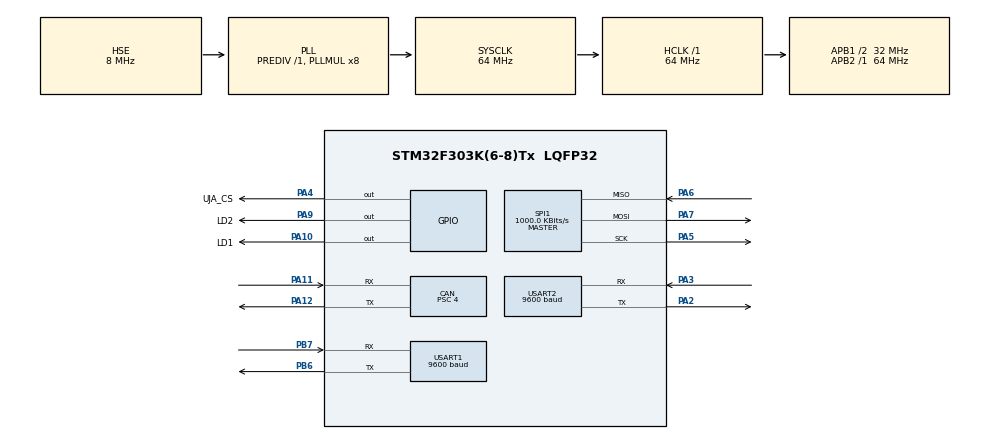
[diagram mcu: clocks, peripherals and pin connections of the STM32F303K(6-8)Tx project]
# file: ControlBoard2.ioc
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CAN.ABOM=ENABLE
CAN.AWUM=DISABLE
CAN.BS1=CAN_BS1_5TQ
CAN.BS2=CAN_BS2_2TQ
CAN.CalculateBaudRate=1000000
CAN.CalculateTimeBit=1000.00
CAN.CalculateTimeQuantum=125.0
CAN.Mode=CAN_MODE_NORMAL
CAN.NART=DISABLE
CAN.Prescaler=4
CAN.RFLM=DISABLE
CAN.SJW=CAN_SJW_2TQ
CAN.TTCM=DISABLE
CAN.TXFP=DISABLE
FREERTOS.BinarySemaphores01=ProcessCommandSem,Dynamic,NULL
FREERTOS.Tasks01=SendCANFrame,24,128,StartSendCANFrame,Default,NULL,Dynamic,NULL,NULL;ProcessCommand,24,128,StartProcessCommand,Default,NULL,Dynamic,NULL,NULL;SendTelemetry,24,128,StartSendTelemetry,Default,NULL,Dynamic,NULL,NULL;FeedWDG,40,128,StartFeedWDG,Default,NULL,Static,FeedWDGBuffer,FeedWDGControlBlock
FREERTOS.configUSE_IDLE_HOOK=1
FREERTOS.configUSE_PREEMPTION=1
Mcu.Family=STM32F3
Mcu.Name=STM32F303K(6-8)Tx
Mcu.Package=LQFP32
NVIC.CAN_RX0_IRQn=true\:5\:0\:false\:true\:true\:1\:true\:true\:true
NVIC.CAN_RX1_IRQn=true\:5\:0\:false\:true\:true\:2\:true\:true\:true
NVIC.PriorityGroup=NVIC_PRIORITYGROUP_4
NVIC.SPI1_IRQn=true\:5\:0\:false\:false\:true\:true\:true\:true
NVIC.TIM1_UP_TIM16_IRQn=true\:0\:0\:false\:false\:true\:false\:false\:true
NVIC.TimeBase=TIM1_UP_TIM16_IRQn
NVIC.TimeBaseIP=TIM1
NVIC.USART2_IRQn=true\:5\:0\:false\:true\:true\:3\:true\:true\:true
PA10.GPIO_Label=LD1
PA10.Signal=GPIO_Output
PA11.Mode=CAN_Activate
PA11.Signal=CAN_RX
PA12.Mode=CAN_Activate
PA12.Signal=CAN_TX
PA13.Mode=JTAG_4_pins
PA13.Signal=SYS_JTMS-SWDIO
PA14.Mode=JTAG_4_pins
PA14.Signal=SYS_JTCK-SWCLK
PA15.Mode=JTAG_4_pins
PA15.Signal=SYS_JTDI
PA2.Mode=Asynchronous
PA2.Signal=USART2_TX
PA3.Mode=Asynchronous
PA3.Signal=USART2_RX
PA4.GPIO_Label=UJA_CS
PA4.Signal=GPIO_Output
PA5.Mode=Full_Duplex_Master
PA5.Signal=SPI1_SCK
PA6.Mode=Full_Duplex_Master
PA6.Signal=SPI1_MISO
PA7.Mode=Full_Duplex_Master
PA7.Signal=SPI1_MOSI
PA9.GPIO_Label=LD2
PA9.Signal=GPIO_Output
PB3.Mode=JTAG_4_pins
PB3.Signal=SYS_JTDO-TRACESWO
PB6.Mode=Asynchronous
PB6.Signal=USART1_TX
PB7.Mode=Asynchronous
PB7.Signal=USART1_RX
PF0\ /\ OSC_IN.Mode=HSE-External-Oscillator
PF0\ /\ OSC_IN.Signal=RCC_OSC_IN
PF1\ /\ OSC_OUT.Mode=HSE-External-Oscillator
PF1\ /\ OSC_OUT.Signal=RCC_OSC_OUT
ProjectManager.HeapSize=0x200
ProjectManager.StackSize=0x400
ProjectManager.TargetToolchain=STM32CubeIDE
RCC.AHBFreq_Value=64000000
RCC.APB1CLKDivider=RCC_HCLK_DIV2
RCC.APB1Freq_Value=32000000
RCC.APB1TimFreq_Value=64000000
RCC.APB2Freq_Value=64000000
RCC.APB2TimFreq_Value=64000000
RCC.CortexFreq_Value=64000000
RCC.HCLKFreq_Value=64000000
RCC.HSE_VALUE=8000000
RCC.HSI_VALUE=8000000
RCC.PLLMUL=RCC_PLL_MUL8
RCC.PLLSourceVirtual=RCC_PLLSOURCE_HSE
RCC.SYSCLKFreq_VALUE=64000000
RCC.SYSCLKSourceVirtual=RCC_SYSCLKSOURCE_PLLCLK
SPI1.BaudRatePrescaler=SPI_BAUDRATEPRESCALER_64
SPI1.CLKPhase=SPI_PHASE_2EDGE
SPI1.CalculateBaudRate=1000.0 KBits/s
SPI1.DataSize=SPI_DATASIZE_8BIT
SPI1.Direction=SPI_DIRECTION_2LINES
SPI1.Mode=SPI_MODE_MASTER
SPI1.TIMode=SPI_TIMODE_DISABLE
SPI1.VirtualType=VM_MASTER
USART1.BaudRate=9600
USART1.VirtualMode-Asynchronous=VM_ASYNC
USART2.BaudRate=9600
USART2.VirtualMode-Asynchronous=VM_ASYNC
VP_FREERTOS_VS_CMSIS_V2.Mode=CMSIS_V2
VP_SYS_VS_tim1.Mode=TIM1
board=custom

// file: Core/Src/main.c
/* USER CODE BEGIN Header */
/**
  ******************************************************************************
  * @file           : main.c
  * @brief          : Main program body
  ******************************************************************************
  * @attention
  *
  * <h2><center>&copy; Copyright (c) 2020 STMicroelectronics.
  * All rights reserved.</center></h2>
  *
  * This software component is licensed by ST under BSD 3-Clause license,
  * the "License"; You may not use this file except in compliance with the
  * License. You may obtain a copy of the License at:
  *                        opensource.org/licenses/BSD-3-Clause
  *
  ******************************************************************************
  */
/* USER CODE END Header */
#include "main.h"
#include "cmsis_os.h"
/* USER CODE BEGIN Includes */

#include <ControlBoard.h>

/* USER CODE END Includes */

typedef StaticTask_t osStaticThreadDef_t;

CAN_HandleTypeDef hcan;

SPI_HandleTypeDef hspi1;

UART_HandleTypeDef huart1;
UART_HandleTypeDef huart2;

/* Definitions for SendCANFrame */
osThreadId_t SendCANFrameHandle;
const osThreadAttr_t SendCANFrame_attributes = {
  .name = "SendCANFrame",
  .priority = (osPriority_t) osPriorityNormal,
  .stack_size = 128 * 4
};
/* Definitions for ProcessCommand */
osThreadId_t ProcessCommandHandle;
const osThreadAttr_t ProcessCommand_attributes = {
  .name = "ProcessCommand",
  .priority = (osPriority_t) osPriorityNormal,
  .stack_size = 128 * 4
};
/* Definitions for SendTelemetry */
osThreadId_t SendTelemetryHandle;
const osThreadAttr_t SendTelemetry_attributes = {
  .name = "SendTelemetry",
  .priority = (osPriority_t) osPriorityNormal,
  .stack_size = 128 * 4
};
/* Definitions for FeedWDG */
osThreadId_t FeedWDGHandle;
uint32_t FeedWDGBuffer[ 128 ];
osStaticThreadDef_t FeedWDGControlBlock;
const osThreadAttr_t FeedWDG_attributes = {
  .name = "FeedWDG",
  .stack_mem = &FeedWDGBuffer[0],
  .stack_size = sizeof(FeedWDGBuffer),
  .cb_mem = &FeedWDGControlBlock,
  .cb_size = sizeof(FeedWDGControlBlock),
  .priority = (osPriority_t) osPriorityHigh,
};
/* Definitions for ProcessCommandSem */
osSemaphoreId_t ProcessCommandSemHandle;
const osSemaphoreAttr_t ProcessCommandSem_attributes = {
  .name = "ProcessCommandSem"
};
/* USER CODE BEGIN PV */

ControlBoardHardware controlboardHandle;

/* USER CODE END PV */

void SystemClock_Config(void);
static void MX_GPIO_Init(void);
static void MX_CAN_Init(void);
static void MX_SPI1_Init(void);
static void MX_USART2_UART_Init(void);
static void MX_USART1_UART_Init(void);
void StartSendCANFrame(void *argument);
void StartProcessCommand(void *argument);
void StartSendTelemetry(void *argument);
void StartFeedWDG(void *argument);

static void MX_NVIC_Init(void);

int main(void)
{

  /* MCU Configuration--------------------------------------------------------*/

  /* Reset of all peripherals, Initializes the Flash interface and the Systick. */
  HAL_Init();

  /* Configure the system clock */
  SystemClock_Config();

  /* Initialize all configured peripherals */
  MX_GPIO_Init();
  MX_CAN_Init();
  MX_SPI1_Init();
  MX_USART2_UART_Init();
  MX_USART1_UART_Init();

  /* Initialize interrupts */
  MX_NVIC_Init();

  /* Init scheduler */
  osKernelInitialize();

  /* Create the semaphores(s) */
  /* creation of ProcessCommandSem */
  ProcessCommandSemHandle = osSemaphoreNew(1, 1, &ProcessCommandSem_attributes);

  /* Create the thread(s) */
  /* creation of SendCANFrame */
  SendCANFrameHandle = osThreadNew(StartSendCANFrame, NULL, &SendCANFrame_attributes);

  /* creation of ProcessCommand */
  ProcessCommandHandle = osThreadNew(StartProcessCommand, NULL, &ProcessCommand_attributes);

  /* creation of SendTelemetry */
  SendTelemetryHandle = osThreadNew(StartSendTelemetry, NULL, &SendTelemetry_attributes);

  /* creation of FeedWDG */
  FeedWDGHandle = osThreadNew(StartFeedWDG, NULL, &FeedWDG_attributes);

  /* USER CODE BEGIN RTOS_EVENTS */

  //Setup ControlBoard hardware references
  controlboardHandle.CAN_Handle = &hcan;
  controlboardHandle.UART_Handle = &huart2;
  controlboardHandle.LED1_GPIO_Port = LD1_GPIO_Port;
  controlboardHandle.LED1_GPIO_Pin = LD1_Pin;
  controlboardHandle.LED2_GPIO_Port = LD2_GPIO_Port;
  controlboardHandle.LED2_GPIO_Pin = LD2_Pin;
  controlboardHandle.ProcessCommandSemaphore_Handle = ProcessCommandSemHandle;

  controlboardHandle.SBC_Handle.SPI_Handle = &hspi1;
  controlboardHandle.SBC_Handle.ChipSelect_GPIO_Port = UJA_CS_GPIO_Port;
  controlboardHandle.SBC_Handle.ChipSelect_GPIO_Pin = UJA_CS_Pin;

  //Init control board
  InitControlboard(&controlboardHandle);

  /* USER CODE END RTOS_EVENTS */

  /* Start scheduler */
  osKernelStart();

  /* We should never get here as control is now taken by the scheduler */
  /* Infinite loop */
  while (1)
  {

  }
}

void SystemClock_Config(void)
{
  RCC_OscInitTypeDef RCC_OscInitStruct = {0};
  RCC_ClkInitTypeDef RCC_ClkInitStruct = {0};
  RCC_PeriphCLKInitTypeDef PeriphClkInit = {0};

  /** Initializes the RCC Oscillators according to the specified parameters
  * in the RCC_OscInitTypeDef structure.
  */
  RCC_OscInitStruct.OscillatorType = RCC_OSCILLATORTYPE_HSE;
  RCC_OscInitStruct.HSEState = RCC_HSE_ON;
  RCC_OscInitStruct.HSEPredivValue = RCC_HSE_PREDIV_DIV1;
  RCC_OscInitStruct.HSIState = RCC_HSI_ON;
  RCC_OscInitStruct.PLL.PLLState = RCC_PLL_ON;
  RCC_OscInitStruct.PLL.PLLSource = RCC_PLLSOURCE_HSE;
  RCC_OscInitStruct.PLL.PLLMUL = RCC_PLL_MUL8;
  if (HAL_RCC_OscConfig(&RCC_OscInitStruct) != HAL_OK)
  {
    Error_Handler();
  }
  /** Initializes the CPU, AHB and APB buses clocks
  */
  RCC_ClkInitStruct.ClockType = RCC_CLOCKTYPE_HCLK|RCC_CLOCKTYPE_SYSCLK
                              |RCC_CLOCKTYPE_PCLK1|RCC_CLOCKTYPE_PCLK2;
  RCC_ClkInitStruct.SYSCLKSource = RCC_SYSCLKSOURCE_PLLCLK;
  RCC_ClkInitStruct.AHBCLKDivider = RCC_SYSCLK_DIV1;
  RCC_ClkInitStruct.APB1CLKDivider = RCC_HCLK_DIV2;
  RCC_ClkInitStruct.APB2CLKDivider = RCC_HCLK_DIV1;

  if (HAL_RCC_ClockConfig(&RCC_ClkInitStruct, FLASH_LATENCY_2) != HAL_OK)
  {
    Error_Handler();
  }
  PeriphClkInit.PeriphClockSelection = RCC_PERIPHCLK_USART1;
  PeriphClkInit.Usart1ClockSelection = RCC_USART1CLKSOURCE_PCLK1;
  if (HAL_RCCEx_PeriphCLKConfig(&PeriphClkInit) != HAL_OK)
  {
    Error_Handler();
  }
}

/**
  * @brief NVIC Configuration.
  * @retval None
  */
static void MX_NVIC_Init(void)
{
  /* CAN_RX0_IRQn interrupt configuration */
  HAL_NVIC_SetPriority(CAN_RX0_IRQn, 5, 0);
  HAL_NVIC_EnableIRQ(CAN_RX0_IRQn);
  /* CAN_RX1_IRQn interrupt configuration */
  HAL_NVIC_SetPriority(CAN_RX1_IRQn, 5, 0);
  HAL_NVIC_EnableIRQ(CAN_RX1_IRQn);
  /* USART2_IRQn interrupt configuration */
  HAL_NVIC_SetPriority(USART2_IRQn, 5, 0);
  HAL_NVIC_EnableIRQ(USART2_IRQn);
}

static void MX_CAN_Init(void)
{

  hcan.Instance = CAN;
  hcan.Init.Prescaler = 4;
  hcan.Init.Mode = CAN_MODE_NORMAL;
  hcan.Init.SyncJumpWidth = CAN_SJW_2TQ;
  hcan.Init.TimeSeg1 = CAN_BS1_5TQ;
  hcan.Init.TimeSeg2 = CAN_BS2_2TQ;
  hcan.Init.TimeTriggeredMode = DISABLE;
  hcan.Init.AutoBusOff = ENABLE;
  hcan.Init.AutoWakeUp = DISABLE;
  hcan.Init.AutoRetransmission = DISABLE;
  hcan.Init.ReceiveFifoLocked = DISABLE;
  hcan.Init.TransmitFifoPriority = DISABLE;
  if (HAL_CAN_Init(&hcan) != HAL_OK)
  {
    Error_Handler();
  }

}

static void MX_SPI1_Init(void)
{

  /* SPI1 parameter configuration*/
  hspi1.Instance = SPI1;
  hspi1.Init.Mode = SPI_MODE_MASTER;
  hspi1.Init.Direction = SPI_DIRECTION_2LINES;
  hspi1.Init.DataSize = SPI_DATASIZE_8BIT;
  hspi1.Init.CLKPolarity = SPI_POLARITY_LOW;
  hspi1.Init.CLKPhase = SPI_PHASE_2EDGE;
  hspi1.Init.NSS = SPI_NSS_SOFT;
  hspi1.Init.BaudRatePrescaler = SPI_BAUDRATEPRESCALER_64;
  hspi1.Init.FirstBit = SPI_FIRSTBIT_MSB;
  hspi1.Init.TIMode = SPI_TIMODE_DISABLE;
  hspi1.Init.CRCCalculation = SPI_CRCCALCULATION_DISABLE;
  hspi1.Init.CRCPolynomial = 7;
  hspi1.Init.CRCLength = SPI_CRC_LENGTH_DATASIZE;
  hspi1.Init.NSSPMode = SPI_NSS_PULSE_DISABLE;
  if (HAL_SPI_Init(&hspi1) != HAL_OK)
  {
    Error_Handler();
  }

}

static void MX_USART1_UART_Init(void)
{

  huart1.Instance = USART1;
  huart1.Init.BaudRate = 9600;
  huart1.Init.WordLength = UART_WORDLENGTH_8B;
  huart1.Init.StopBits = UART_STOPBITS_1;
  huart1.Init.Parity = UART_PARITY_NONE;
  huart1.Init.Mode = UART_MODE_TX_RX;
  huart1.Init.HwFlowCtl = UART_HWCONTROL_NONE;
  huart1.Init.OverSampling = UART_OVERSAMPLING_16;
  huart1.Init.OneBitSampling = UART_ONE_BIT_SAMPLE_DISABLE;
  huart1.AdvancedInit.AdvFeatureInit = UART_ADVFEATURE_NO_INIT;
  if (HAL_UART_Init(&huart1) != HAL_OK)
  {
    Error_Handler();
  }

}

static void MX_USART2_UART_Init(void)
{

  huart2.Instance = USART2;
  huart2.Init.BaudRate = 9600;
  huart2.Init.WordLength = UART_WORDLENGTH_8B;
  huart2.Init.StopBits = UART_STOPBITS_1;
  huart2.Init.Parity = UART_PARITY_NONE;
  huart2.Init.Mode = UART_MODE_TX_RX;
  huart2.Init.HwFlowCtl = UART_HWCONTROL_NONE;
  huart2.Init.OverSampling = UART_OVERSAMPLING_16;
  huart2.Init.OneBitSampling = UART_ONE_BIT_SAMPLE_DISABLE;
  huart2.AdvancedInit.AdvFeatureInit = UART_ADVFEATURE_NO_INIT;
  if (HAL_UART_Init(&huart2) != HAL_OK)
  {
    Error_Handler();
  }

}

static void MX_GPIO_Init(void)
{
  GPIO_InitTypeDef GPIO_InitStruct = {0};

  /* GPIO Ports Clock Enable */
  __HAL_RCC_GPIOF_CLK_ENABLE();
  __HAL_RCC_GPIOA_CLK_ENABLE();
  __HAL_RCC_GPIOB_CLK_ENABLE();

  /*Configure GPIO pin Output Level */
  HAL_GPIO_WritePin(GPIOA, UJA_CS_Pin|LD2_Pin|LD1_Pin, GPIO_PIN_RESET);

  /*Configure GPIO pins : UJA_CS_Pin LD2_Pin LD1_Pin */
  GPIO_InitStruct.Pin = UJA_CS_Pin|LD2_Pin|LD1_Pin;
  GPIO_InitStruct.Mode = GPIO_MODE_OUTPUT_PP;
  GPIO_InitStruct.Pull = GPIO_NOPULL;
  GPIO_InitStruct.Speed = GPIO_SPEED_FREQ_LOW;
  HAL_GPIO_Init(GPIOA, &GPIO_InitStruct);
}

/* USER CODE BEGIN 4 */

//IRQ's
void HAL_UART_RxCpltCallback(UART_HandleTypeDef *huart)
{
	if (huart->Instance == controlboardHandle.UART_Handle->Instance)
	{
		UART_RX_ISR(&controlboardHandle);
	}
}

void HAL_CAN_RxFifo0MsgPendingCallback(CAN_HandleTypeDef *hcan)
{
	if (hcan->Instance == controlboardHandle.CAN_Handle->Instance)
	{
		CAN_RX_ISR(&controlboardHandle);
	}
}

/* USER CODE END 4 */

void StartSendCANFrame(void *argument)
{
  /* USER CODE BEGIN 5 */
  /* Infinite loop */
  for(;;)
  {
    SendCANFramesTask(&controlboardHandle);
  }
  /* USER CODE END 5 */
}

void StartProcessCommand(void *argument)
{
  /* USER CODE BEGIN StartProcessCommand */

  /* Infinite loop */
  for(;;)
  {
  	ProcessCommandTask(&controlboardHandle);
  }
  /* USER CODE END StartProcessCommand */
}

void StartSendTelemetry(void *argument)
{
  /* USER CODE BEGIN StartSendTelemetry */
  /* Infinite loop */
  for(;;)
  {
  	SendTelemetryTask(&controlboardHandle);
  }
  /* USER CODE END StartSendTelemetry */
}

void StartFeedWDG(void *argument)
{
  /* USER CODE BEGIN StartFeedWDG */
  /* Infinite loop */
  for(;;)
  {
  	FeedWatchdogTask(&controlboardHandle);
  }
  /* USER CODE END StartFeedWDG */
}

 /**
  * @brief  Period elapsed callback in non blocking mode
  * @note   This function is called  when TIM1 interrupt took place, inside
  * HAL_TIM_IRQHandler(). It makes a direct call to HAL_IncTick() to increment
  * a global variable "uwTick" used as application time base.
  * @param  htim : TIM handle
  * @retval None
  */
void HAL_TIM_PeriodElapsedCallback(TIM_HandleTypeDef *htim)
{
  if (htim->Instance == TIM1) {
    HAL_IncTick();
  }
}

void Error_Handler(void)
{
}

/************************ (C) COPYRIGHT STMicroelectronics *****END OF FILE****/

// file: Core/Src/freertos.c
/* USER CODE BEGIN Header */
/**
  ******************************************************************************
  * File Name          : freertos.c
  * Description        : Code for freertos applications
  ******************************************************************************
  * @attention
  *
  * <h2><center>&copy; Copyright (c) 2021 STMicroelectronics.
  * All rights reserved.</center></h2>
  *
  * This software component is licensed by ST under Ultimate Liberty license
  * SLA0044, the "License"; You may not use this file except in compliance with
  * the License. You may obtain a copy of the License at:
  *                             www.st.com/SLA0044
  *
  ******************************************************************************
  */
/* USER CODE END Header */

#include "FreeRTOS.h"
#include "task.h"
#include "main.h"

/* Hook prototypes */
void vApplicationIdleHook(void);

/* USER CODE BEGIN 2 */
void vApplicationIdleHook( void )
{
   /* vApplicationIdleHook() will only be called if configUSE_IDLE_HOOK is set
   to 1 in FreeRTOSConfig.h. It will be called on each iteration of the idle
   task. It is essential that code added to this hook function never attempts
   to block in any way (for example, call xQueueReceive() with a block time
   specified, or call vTaskDelay()). If the application makes use of the
   vTaskDelete() API function (as this demo application does) then it is also
   important that vApplicationIdleHook() is permitted to return to its calling
   function, because it is the responsibility of the idle task to clean up
   memory allocated by the kernel to any task that has since been deleted. */
}
/* USER CODE END 2 */

/************************ (C) COPYRIGHT STMicroelectronics *****END OF FILE****/
